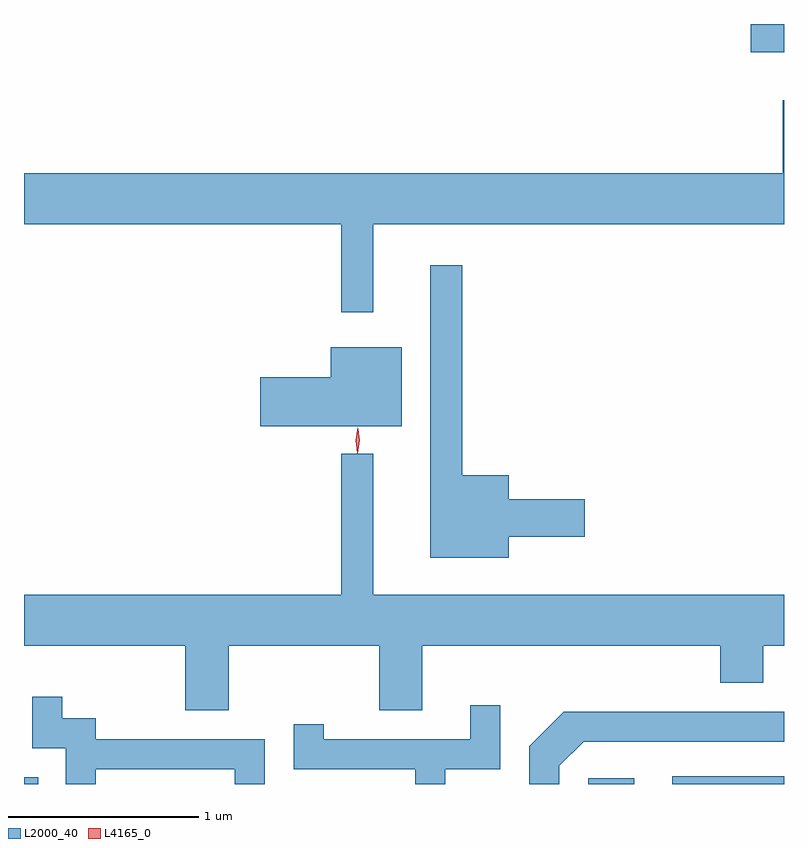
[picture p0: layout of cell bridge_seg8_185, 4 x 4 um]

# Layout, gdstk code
import gdstk
lib = gdstk.Library(unit=1e-6, precision=1e-09)
def R(c, l, rs):  # rectangles x0, y0, x1, y1
    for r in rs: c.add(gdstk.rectangle(r[:2], r[2:], *l))
def P(c, l, *ps):  # polygons
    for p in ps: c.add(gdstk.Polygon(p, *l))
L2000_40 = (2000, 40)
L4165_0 = (4165, 0)

bridge_seg8_185 = lib.new_cell('bridge_seg8_185')
R(bridge_seg8_185, L2000_40, [(1099.092,1904.509,1099.168,1904.544), (1102.061,1904.509,1102.303,1904.539), (1102.503,1904.509,1103.092,1904.549), (1102.916,1908.361,1103.092,1908.509)])
P(bridge_seg8_185, L2000_40, [(1100.929,1907.456),(1103.092,1907.456),(1103.092,1908.108),(1103.086,1908.108),(1103.086,1907.724),(1099.092,1907.724),(1099.092,1907.456),(1100.761,1907.456),(1100.761,1906.993),(1100.929,1906.993)],
  [(1101.644,1905.811),(1102.044,1905.811),(1102.044,1906.009),(1101.644,1906.009),(1101.644,1906.134),(1101.399,1906.134),(1101.399,1907.238),(1101.231,1907.238),(1101.231,1905.701),(1101.644,1905.701)],
  [(1101.079,1906.809),(1100.706,1906.809),(1100.706,1906.649),(1100.336,1906.649),(1100.336,1906.391),(1101.079,1906.391)],
  [(1100.169,1905.236),(1100.961,1905.236),(1100.961,1904.896),(1101.189,1904.896),(1101.189,1905.236),(1102.756,1905.236),(1102.756,1905.041),(1102.984,1905.041),(1102.984,1905.236),(1103.092,1905.236),(1103.092,1905.504),(1100.929,1905.504),(1100.929,1906.248),(1100.761,1906.248),(1100.761,1905.504),(1099.092,1905.504),(1099.092,1905.236),(1099.941,1905.236),(1099.941,1904.896),(1100.169,1904.896)],
  [(1099.469,1904.586),(1100.201,1904.586),(1100.201,1904.509),(1100.359,1904.509),(1100.359,1904.744),(1099.469,1904.744),(1099.469,1904.854),(1099.294,1904.854),(1099.294,1904.968),(1099.136,1904.968),(1099.136,1904.696),(1099.311,1904.696),(1099.311,1904.509),(1099.469,1904.509)],
  [(1101.309,1904.586),(1101.599,1904.586),(1101.599,1904.923),(1101.441,1904.923),(1101.441,1904.744),(1100.669,1904.744),(1100.669,1904.823),(1100.511,1904.823),(1100.511,1904.586),(1101.151,1904.586),(1101.151,1904.509),(1101.309,1904.509)],
  [(1101.909,1904.604),(1102.037,1904.731),(1103.092,1904.731),(1103.092,1904.889),(1101.934,1904.889),(1101.751,1904.707),(1101.751,1904.509),(1101.909,1904.509)])
P(bridge_seg8_185, L4165_0, [(1100.846,1906.253),(1100.838,1906.316),(1100.848,1906.379),(1100.849,1906.38),(1100.85,1906.379),(1100.858,1906.316),(1100.848,1906.253),(1100.847,1906.253)],
  [(1100.846,1906.25),(1100.838,1906.318),(1100.848,1906.386),(1100.848,1906.386),(1100.849,1906.386),(1100.858,1906.318),(1100.848,1906.25),(1100.847,1906.25)])

lib.write_gds('bridge_seg8_185.gds')
